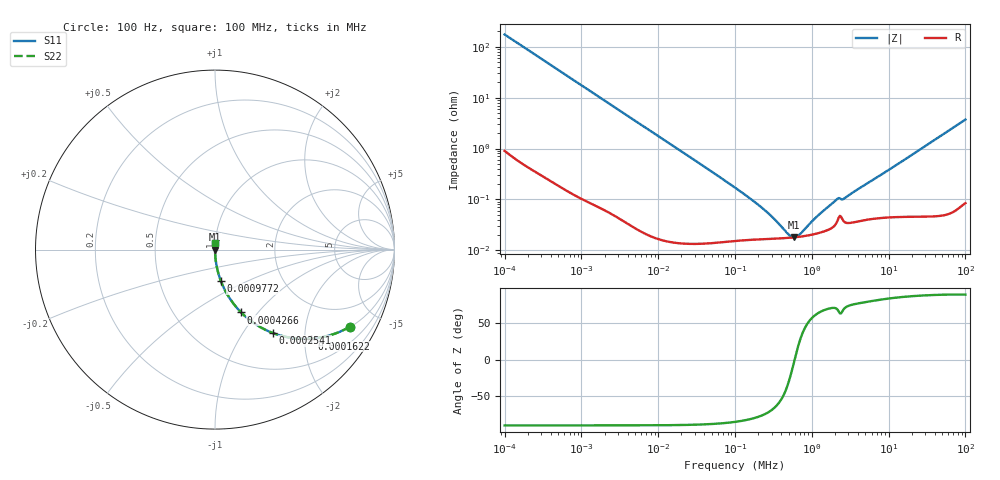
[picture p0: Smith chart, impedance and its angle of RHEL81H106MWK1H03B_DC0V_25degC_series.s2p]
!Murata Part Number: RHEL81H106MWK1H03B
!These Parameters are Measured in Series Mode Connection
!  o--ll--o
!Port1  Port2
!  o------o
!Operation Temp=25[degC], DC Bias Voltage=0[V]
!Freq. Start=100[Hz] Stop=100[MHz], 401[Steps]
!Data Generated on May 18, 2023
# Hz S RI R 50
!Freq.(Hz) S11(Real) S11(Imag) S21(Real) S21(Imag) S12(Real) S12(Imag) S22(Real) S22(Imag)
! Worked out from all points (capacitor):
!   401 points, 100 Hz to 100 MHz, reference 50 ohm
!   read as one part in series: C = 9.11 uF near 107.2 Hz
!   lowest |Z| = 18 mohm at 582.1 kHz (marker M1)
!   series resonance near 597.4 kHz, so ESL is about 7.8 nH
!   S11 on the Smith chart (normalised r, x): 100 Hz: 1.02, -3.49; 162.2 Hz: 1.01, -2.16; 254.1 Hz: 1.01, -1.38; 426.6 Hz: 1.00, -0.82; 977.2 Hz: 1.00, -0.36; 100 MHz: 1.00, +0.07
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100  0.7518 -0.4294  0.2482 0.4294  0.2482 0.4294  0.7518 -0.4294
162.181  0.5372 -0.4962  0.4628 0.4962  0.4628 0.4962  0.5372 -0.4962
254.0973  0.3226 -0.465  0.6774 0.465  0.6774 0.465  0.3226 -0.465
334.9654  0.2159 -0.4089  0.7841 0.4089  0.7841 0.4089  0.2159 -0.4089
426.5795  0.1457 -0.3502  0.8543 0.3502  0.8543 0.3502  0.1457 -0.3502
623.7348  0.0745 -0.26  0.9255 0.26  0.9255 0.26  0.0745 -0.26
977.2372  0.0323 -0.1738  0.9677 0.1738  0.9677 0.1738  0.0323 -0.1738
1011.579  0.0302 -0.1683  0.9698 0.1683  0.9698 0.1683  0.0302 -0.1683
2660.725  0.00486 -0.066  0.9951 0.066  0.9951 0.066  0.00486 -0.066
10232.93  0.000464 -0.0173  0.9995 0.0173  0.9995 0.0173  0.000464 -0.0173
100000  0.000155 -0.0017  0.9998 0.0017  0.9998 0.0017  0.000155 -0.0017
229086.8  0.000166 -0.000648  0.9998 0.000648  0.9998 0.000648  0.000166 -0.000648
323593.7  0.000169 -0.000379  0.9998 0.000379  0.9998 0.000379  0.000169 -0.000379
489778.8  0.000176 -0.000116  0.9998 0.000116  0.9998 0.000116  0.000176 -0.000116
582103.2  0.00018 -1.49e-05  0.9998 1.49e-05  0.9998 1.49e-05  0.00018 -1.49e-05
623734.8  0.000182 2.5e-05  0.9998 -2.5e-05  0.9998 -2.5e-05  0.000182 2.5e-05
691831  0.000185 8.5e-05  0.9998 -8.5e-05  0.9998 -8.5e-05  0.000185 8.5e-05
1011579  0.000204 0.000315  0.9998 -0.000315  0.9998 -0.000315  0.000204 0.000315
2089296  0.000344 0.000925  0.9997 -0.000925  0.9997 -0.000925  0.000344 0.000925
2660725  0.000362 0.000984  0.9996 -0.000984  0.9996 -0.000984  0.000362 0.000984
1.023293e7  0.000458 0.00385  0.9995 -0.00385  0.9995 -0.00385  0.000458 0.00385
1e8  0.00222 0.037  0.9978 -0.037  0.9978 -0.037  0.00222 0.037
